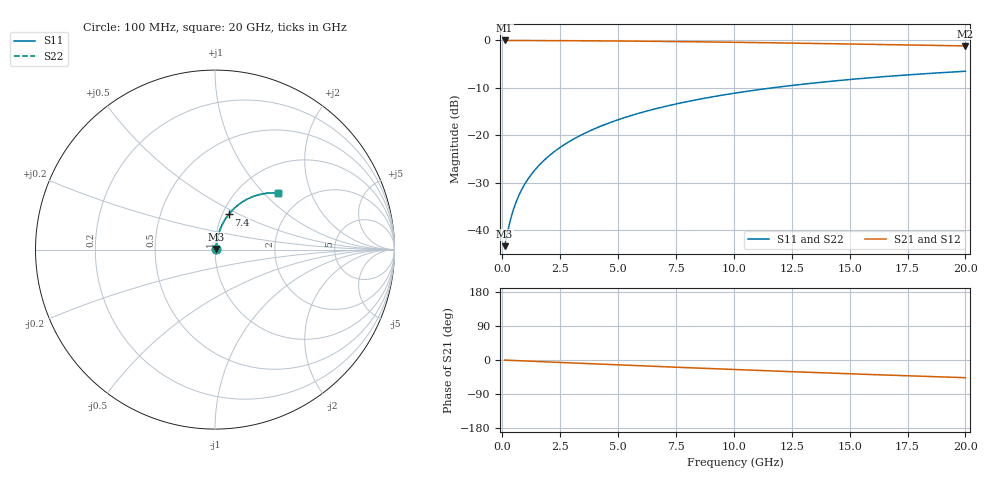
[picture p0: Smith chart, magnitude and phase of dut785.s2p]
! Touchstone file exported from HFSS 2026.1.0
!  File:  C:/ffzhzh/LocalFiles/Ansys_Project_Files/temp_train_BSMRDL_785_1783169432_18472.aedt
!  Generated:  08:51:46 PM Jul  4, 2026
!  Design:  BSMRDL
!  Project:  temp_train_BSMRDL_785_1783169432_18472
! Variables:
!  h_bsmrdl = 2um
!  h_ox = 20um
!  h_rdl = 5um
!  h_sub = 80um
!  h_tmrdl = 5um
!  h_tsv = 80um
!  h_via = 3um
!  l_bsmrdl = 643.93um
!  l_sub = 1043.93um
!  l_tmrdl = 200um
!  m_sub = 200um
!  pitch = 51.87um
!  r_tsv = 6um
!  s_tmrdl = 10um
!  w_bsmrdl = 20.11um
!  w_sub = 500um
!  w_tmrdl = 12um
!  x_tsv_center1 = 206um
!  x_tsv_center2 = 870.04um
!  x_tsv_center3 = 1082.04um
!  x_tsv_center4 = 1746.08um
!  x_tsv_center5 = 1958.08um
!  x_tsv_center6 = 2622.12um
# GHz S MA R 50.000000
! Terminal data exported
! Port[1] = BSM_RDL1_1_T1
! Port[2] = BSM_RDL1_1_T2
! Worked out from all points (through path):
!   200 points, 100 MHz to 20 GHz, reference 50 ohm
!   highest |S21| = -0.05 dB at 100 MHz (marker M1); lowest = -1.2 dB at 20 GHz (marker M2)
!   group delay of S21, straight-line fit = 6.51 ps
!   lowest |S11| = -43.4 dB at 100 MHz (marker M3), VSWR 1.01, Z = 50.6 + j0.321 ohm
!   |S11| at or under -10 dB: start of sweep to 11.73 GHz
!   |S22| runs from -43.4 to -6.5 dB; largest |S21 - S12| = 2.6e-15
!   S11 on the Smith chart (normalised r, x): 100 MHz: 1.01, +0.01; 7.4 GHz: 1.07, +0.44; 20 GHz: 1.49, +1.21
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0.1  0.006751 28.1  0.9941 -0.3  0.9941 -0.3  0.006751 28.1
! Gamma 0 0 0 0
! Port Impedance 50 0 50 0
0.3  0.01135 56.2  0.9938 -0.8  0.9938 -0.8  0.01135 56.2
0.4  0.01411 62.3  0.9936 -1.1  0.9936 -1.1  0.01411 62.3
0.5  0.01695 66.1  0.9934 -1.3  0.9934 -1.3  0.01695 66.1
0.6  0.01981 68.7  0.9932 -1.6  0.9932 -1.6  0.01981 68.7
0.7  0.02268 70.6  0.9929 -1.9  0.9929 -1.9  0.02268 70.6
0.9  0.0284 73.2  0.9925 -2.4  0.9925 -2.4  0.0284 73.2
1.2  0.03697 75.4  0.992 -3.2  0.992 -3.2  0.03697 75.4
1.4  0.04269 76.2  0.9916 -3.7  0.9916 -3.7  0.04269 76.2
1.7  0.05128 77.0  0.9911 -4.4  0.9911 -4.4  0.05128 77.0
2.2  0.06563 77.5  0.9901 -5.7  0.9901 -5.7  0.06563 77.5
2.8  0.08285 77.2  0.9886 -7.2  0.9886 -7.2  0.08285 77.2
3.5  0.1029 76.5  0.9866 -9.0  0.9866 -9.0  0.1029 76.5
4.2  0.1227 75.3  0.9843 -10.8  0.9843 -10.8  0.1227 75.3
5  0.1451 73.9  0.9811 -12.8  0.9811 -12.8  0.1451 73.9
6.8  0.1943 70.1  0.9722 -17.3  0.9722 -17.3  0.1943 70.1
7.4  0.2102 68.8  0.9688 -18.8  0.9688 -18.8  0.2102 68.8
8.7  0.2437 65.9  0.9607 -22.0  0.9607 -22.0  0.2437 65.9
10.1  0.2783 62.7  0.951 -25.3  0.951 -25.3  0.2783 62.7
13.4  0.3527 55.5  0.9254 -32.9  0.9254 -32.9  0.3527 55.5
16.7  0.4169 48.5  0.898 -40.0  0.898 -40.0  0.4168 48.5
20  0.4709 41.9  0.8707 -46.7  0.8707 -46.7  0.4708 41.9
